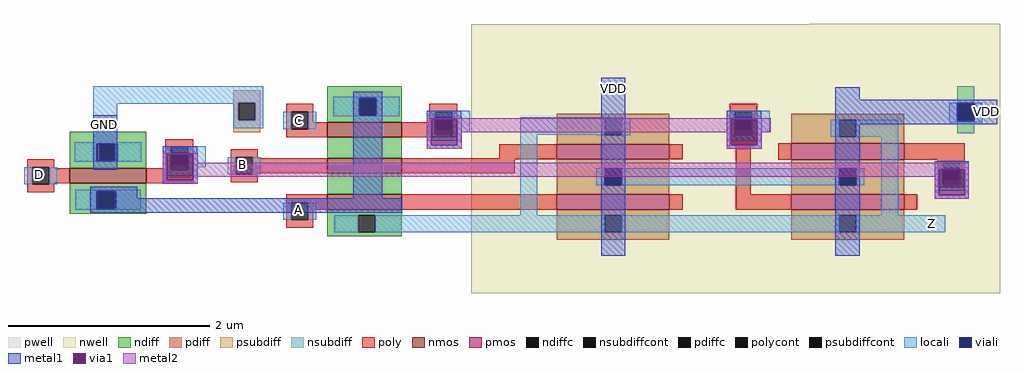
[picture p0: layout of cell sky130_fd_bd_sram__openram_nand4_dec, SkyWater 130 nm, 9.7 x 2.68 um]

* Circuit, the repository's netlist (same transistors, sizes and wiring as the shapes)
* Copyright 2020 The SkyWater PDK Authors
*
* Licensed under the Apache License, Version 2.0 (the "License");
* you may not use this file except in compliance with the License.
* You may obtain a copy of the License at
*
*     https://www.apache.org/licenses/LICENSE-2.0
*
* Unless required by applicable law or agreed to in writing, software
* distributed under the License is distributed on an "AS IS" BASIS,
* WITHOUT WARRANTIES OR CONDITIONS OF ANY KIND, either express or implied.
* See the License for the specific language governing permissions and
* limitations under the License.
*
* SPDX-License-Identifier: Apache-2.0


.subckt sky130_fd_bd_sram__openram_nand4_dec GND VDD
X0 VDD C Z VDD sky130_fd_pr__pfet_01v8 w=1.125e+06u l=150000u
X1 a_n384_98# C a_128_208# GND sky130_fd_pr__nfet_01v8 w=740000u l=150000u
X2 Z D VDD VDD sky130_fd_pr__pfet_01v8 w=1.125e+06u l=165000u
X3 Z B VDD VDD sky130_fd_pr__pfet_01v8 w=1.12e+06u l=150000u
X4 a_128_136# A Z GND sky130_fd_pr__nfet_01v8 w=740000u l=150000u
X5 VDD A Z VDD sky130_fd_pr__pfet_01v8 w=1.12e+06u l=150000u
X6 a_128_208# B a_128_136# GND sky130_fd_pr__nfet_01v8 w=740000u l=150000u
X7 GND D a_n384_98# GND sky130_fd_pr__nfet_01v8 w=760000u l=150000u
.ends

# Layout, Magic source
magic
tech sky130A
magscale 1 2
<< nwell >>
rect 1086 474 1465 475
rect 414 -60 1465 474
<< pwell >>
rect -59 260 -5 343
<< nmos >>
rect 128 250 276 280
rect -384 158 -232 188
rect 128 178 276 208
rect 128 106 276 136
<< pmos >>
rect 584 206 808 236
rect 1050 205 1275 238
rect 584 106 808 136
rect 1050 106 1275 136
<< ndiff >>
rect 128 327 276 351
rect -384 237 -232 261
rect 128 293 191 327
rect 225 293 276 327
rect 128 280 276 293
rect -384 203 -323 237
rect -289 203 -232 237
rect -384 188 -232 203
rect 128 208 276 250
rect -384 142 -232 158
rect -384 108 -326 142
rect -292 108 -232 142
rect 128 136 276 178
rect -384 98 -232 108
rect 128 95 276 106
rect 128 61 189 95
rect 223 61 276 95
rect 128 53 276 61
<< pdiff >>
rect 584 288 808 296
rect 584 254 679 288
rect 713 254 808 288
rect 584 236 808 254
rect 1050 285 1275 296
rect 1050 251 1145 285
rect 1179 251 1275 285
rect 1050 238 1275 251
rect 584 188 808 206
rect 584 154 679 188
rect 713 154 808 188
rect 584 136 808 154
rect 1050 188 1275 205
rect 1050 154 1145 188
rect 1179 154 1275 188
rect 1050 136 1275 154
rect 584 95 808 106
rect 584 61 679 95
rect 713 61 808 95
rect 584 46 808 61
rect 1050 95 1275 106
rect 1050 61 1145 95
rect 1179 61 1275 95
rect 1050 46 1275 61
<< ndiffc >>
rect 191 293 225 327
rect -323 203 -289 237
rect -326 108 -292 142
rect 189 61 223 95
<< pdiffc >>
rect 679 254 713 288
rect 1145 251 1179 285
rect 679 154 713 188
rect 1145 154 1179 188
rect 679 61 713 95
rect 1145 61 1179 95
<< psubdiff >>
rect -59 318 -5 343
rect -59 284 -49 318
rect -15 284 -5 318
rect -59 260 -5 284
<< nsubdiff >>
rect 1380 318 1414 351
rect 1380 258 1414 284
<< psubdiffcont >>
rect -49 284 -15 318
<< nsubdiffcont >>
rect 1380 284 1414 318
<< poly >>
rect 46 300 100 316
rect 46 266 56 300
rect 90 280 100 300
rect 331 300 386 316
rect 331 280 342 300
rect 90 266 128 280
rect 46 250 128 266
rect 276 266 342 280
rect 376 266 386 300
rect 928 300 982 316
rect 276 250 386 266
rect -469 190 -415 206
rect -469 156 -459 190
rect -425 188 -415 190
rect -194 230 -139 246
rect -194 196 -183 230
rect -149 197 -139 230
rect -64 210 -10 226
rect -149 196 -138 197
rect -194 188 -138 196
rect -425 158 -384 188
rect -232 158 -138 188
rect -64 176 -54 210
rect -20 208 -10 210
rect 928 266 938 300
rect 972 266 982 300
rect 470 208 584 236
rect -20 178 128 208
rect 276 206 584 208
rect 808 206 834 236
rect 928 234 982 266
rect 276 178 500 206
rect -20 176 -10 178
rect -64 160 -10 176
rect -425 156 -415 158
rect -469 140 -415 156
rect 940 136 970 234
rect 1024 205 1050 238
rect 1275 205 1395 238
rect 1341 200 1395 205
rect 1341 166 1351 200
rect 1385 166 1395 200
rect 1341 150 1395 166
rect 46 120 128 136
rect 46 86 56 120
rect 90 106 128 120
rect 276 106 584 136
rect 808 106 834 136
rect 940 106 1050 136
rect 1275 106 1301 136
rect 90 86 100 106
rect 46 70 100 86
<< polycont >>
rect 56 266 90 300
rect 342 266 376 300
rect -459 156 -425 190
rect -183 196 -149 230
rect -54 176 -20 210
rect 938 266 972 300
rect 1351 166 1385 200
rect 56 86 90 120
<< locali >>
rect -337 318 1 351
rect -337 316 -49 318
rect -337 240 -290 316
rect -59 284 -49 316
rect -15 284 1 318
rect 140 327 272 330
rect -59 268 1 284
rect 40 266 56 300
rect 90 266 106 300
rect 140 293 191 327
rect 225 293 272 327
rect 140 291 272 293
rect 326 300 411 302
rect 326 255 342 300
rect 376 260 411 300
rect 922 300 1007 302
rect 511 288 687 289
rect 376 255 394 260
rect 326 243 394 255
rect 511 255 679 288
rect -374 237 -242 240
rect -374 203 -330 237
rect -289 203 -242 237
rect -374 201 -242 203
rect -199 230 -114 232
rect -475 156 -459 190
rect -425 156 -409 190
rect -199 185 -183 230
rect -149 190 -114 230
rect -149 185 -131 190
rect -199 173 -131 185
rect -70 176 -54 210
rect -20 176 -4 210
rect -373 142 -243 145
rect -373 108 -330 142
rect -292 108 -243 142
rect -373 106 -243 108
rect 40 86 56 120
rect 90 86 106 120
rect 511 95 545 255
rect 662 254 679 255
rect 713 254 730 288
rect 922 255 938 300
rect 972 260 1007 300
rect 972 255 990 260
rect 922 243 990 255
rect 1129 251 1145 285
rect 1179 251 1263 285
rect 1364 283 1380 318
rect 1414 283 1430 318
rect 1364 280 1430 283
rect 662 154 679 188
rect 713 154 1145 188
rect 1179 154 1195 188
rect 1229 95 1263 251
rect 1335 200 1403 202
rect 1335 155 1351 200
rect 1385 155 1403 200
rect 1335 143 1403 155
rect 142 61 189 95
rect 223 61 679 95
rect 713 61 1145 95
rect 1179 61 1356 95
<< viali >>
rect 191 293 225 327
rect 342 266 376 289
rect 342 255 376 266
rect -330 203 -323 237
rect -323 203 -296 237
rect -183 196 -149 219
rect -183 185 -149 196
rect -330 108 -326 142
rect -326 108 -296 142
rect 938 266 972 289
rect 938 255 972 266
rect 1380 284 1414 317
rect 1380 283 1414 284
rect 679 154 713 188
rect 1145 154 1179 188
rect 1351 166 1385 189
rect 1351 155 1385 166
<< metal1 >>
rect 179 327 237 340
rect 179 293 191 327
rect 225 293 237 327
rect -337 237 -290 293
rect -337 203 -330 237
rect -296 203 -290 237
rect -337 185 -290 203
rect -199 220 -131 232
rect -199 219 -130 220
rect -199 216 -183 219
rect -149 216 -130 219
rect -199 164 -191 216
rect -139 164 -130 216
rect -199 157 -130 164
rect -343 142 -250 151
rect -343 108 -330 142
rect -296 128 -250 142
rect 179 128 237 293
rect 326 290 394 302
rect 326 289 395 290
rect 326 286 342 289
rect 376 286 395 289
rect 326 234 334 286
rect 386 234 395 286
rect 326 227 395 234
rect 672 188 720 368
rect 1138 324 1186 349
rect 1138 317 1460 324
rect 922 290 990 302
rect 922 289 991 290
rect 922 286 938 289
rect 972 286 991 289
rect 922 234 930 286
rect 982 234 991 286
rect 922 227 991 234
rect 1138 283 1380 317
rect 1414 283 1460 317
rect 1138 276 1460 283
rect 672 154 679 188
rect 713 154 720 188
rect -296 108 277 128
rect -343 100 277 108
rect 672 14 720 154
rect 1138 188 1186 276
rect 1138 154 1145 188
rect 1179 154 1186 188
rect 1138 14 1186 154
rect 1335 189 1403 202
rect 1335 186 1351 189
rect 1385 186 1403 189
rect 1335 134 1343 186
rect 1395 134 1403 186
rect 1335 127 1403 134
<< via1 >>
rect -191 185 -183 216
rect -183 185 -149 216
rect -149 185 -139 216
rect -191 164 -139 185
rect 334 255 342 286
rect 342 255 376 286
rect 376 255 386 286
rect 334 234 386 255
rect 930 255 938 286
rect 938 255 972 286
rect 972 255 982 286
rect 930 234 982 255
rect 1343 155 1351 186
rect 1351 155 1385 186
rect 1385 155 1395 186
rect 1343 134 1395 155
<< metal2 >>
rect 326 286 1009 288
rect 326 234 334 286
rect 386 260 930 286
rect 386 234 395 260
rect 326 227 395 234
rect 922 234 930 260
rect 982 260 1009 286
rect 982 234 991 260
rect 922 227 991 234
rect -199 216 -130 218
rect -199 164 -191 216
rect -139 199 -130 216
rect -139 186 1403 199
rect -139 171 1343 186
rect -139 164 -130 171
rect -199 157 -130 164
rect 1335 134 1343 171
rect 1395 134 1403 186
rect 1335 127 1403 134
<< labels >>
rlabel corelocali s -445 176 -445 176 4 D
rlabel corelocali s 70 284 70 284 4 C
rlabel corelocali s -40 196 -40 196 4 B
rlabel corelocali s 70 106 70 106 4 A
rlabel corelocali s 1328 78 1328 78 4 Z
rlabel metal1 s 677 338 715 356 4 VDD
port 1 nsew
rlabel metal1 s 1430 281 1448 319 4 VDD
port 1 nsew
rlabel metal1 s -333 266 -295 284 4 GND
port 0 nsew
<< properties >>
string FIXED_BBOX -475 35 1460 351
string GDS_FILE sky130_fd_bd_sram__openram_nand4_dec.gds
string GDS_END 8988
string GDS_START 162
<< end >>
